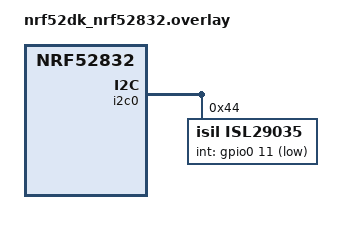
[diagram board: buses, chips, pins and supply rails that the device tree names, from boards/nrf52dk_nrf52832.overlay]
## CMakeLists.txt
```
# SPDX-License-Identifier: Apache-2.0

cmake_minimum_required(VERSION 3.20.0)
find_package(Zephyr REQUIRED HINTS $ENV{ZEPHYR_BASE})
project(isl29035)

FILE(GLOB app_sources src/*.c)
target_sources(app PRIVATE ${app_sources})
```

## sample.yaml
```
sample:
  name: ISL29035 Digital Light Sensor
tests:
  sample.sensor.isl29035:
    tags: sensors
    depends_on: i2c
    platform_allow: nrf52dk/nrf52832
    integration_platforms:
      - nrf52dk/nrf52832
    harness: console
    harness_config:
      type: one_line
      regex:
        - "Ambient light sense"
      fixture: fixture_isl29035
```

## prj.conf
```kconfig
CONFIG_STDOUT_CONSOLE=y
CONFIG_I2C=y
CONFIG_SENSOR=y
CONFIG_ISL29035_TRIGGER_GLOBAL_THREAD=y
CONFIG_ISL29035_LUX_RANGE_4K=y
CONFIG_CBPRINTF_FP_SUPPORT=y
```

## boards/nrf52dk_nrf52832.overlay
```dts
/*
 * Copyright (c) 2019 Nordic Semiconductor ASA
 *
 * SPDX-License-Identifier: Apache-2.0
 */

&i2c0 { /* SDA P0.26, SCL P0.27, ALERT P1.11 */
	isl29035@44 {
		compatible = "isil,isl29035";
		reg = <0x44>;
		int-gpios = <&gpio0 11 (GPIO_PULL_UP | GPIO_ACTIVE_LOW)>;
	};
};
```

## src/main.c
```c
/*
 * Copyright (c) 2019 Nordic Semiconductor ASA
 *
 * SPDX-License-Identifier: Apache-2.0
 */

#include <zephyr/kernel.h>
#include <zephyr/device.h>
#include <zephyr/drivers/sensor.h>
#include <stdio.h>
#include <zephyr/sys/util.h>

#define LUX_ALERT_DELTA 50

static volatile bool alerted;
struct k_sem sem;

static void trigger_handler(const struct device *dev,
			    const struct sensor_trigger *trig)
{
#ifdef CONFIG_ISL29035_TRIGGER
	alerted = !alerted;
	k_sem_give(&sem);
#endif /* CONFIG_ISL29035_TRIGGER */
}

static const char *now_str(void)
{
	static char buf[16]; /* ...HH:MM:SS.MMM */
	uint32_t now = k_uptime_get_32();
	unsigned int ms = now % MSEC_PER_SEC;
	unsigned int s;
	unsigned int min;
	unsigned int h;

	now /= MSEC_PER_SEC;
	s = now % 60U;
	now /= 60U;
	min = now % 60U;
	now /= 60U;
	h = now;

	snprintf(buf, sizeof(buf), "%u:%02u:%02u.%03u",
		 h, min, s, ms);
	return buf;
}

static void process_sample(const struct device *dev)
{
	static bool last_alerted;
	struct sensor_value val;

	if (sensor_sample_fetch(dev) < 0) {
		printf("Sensor sample update error\n");
		return;
	}

	if (sensor_channel_get(dev, SENSOR_CHAN_LIGHT, &val) < 0) {
		printf("Cannot read ISL29035 value\n");
		return;
	}

	int lux = val.val1;

	if (IS_ENABLED(CONFIG_ISL29035_TRIGGER)
	    && (alerted != last_alerted)) {
		static int last_lux;
		int rc;
		struct sensor_trigger trig = {
			.type = SENSOR_TRIG_THRESHOLD,
			.chan = SENSOR_CHAN_ALL,
		};
		struct sensor_value lo_thr = { MAX(lux - LUX_ALERT_DELTA, 0), };
		struct sensor_value hi_thr = { lux + LUX_ALERT_DELTA };

		printf("ALERT %d lux outside range centered on %d lux."
		       "\nNext alert outside %d .. %d\n",
		       lux, last_lux, lo_thr.val1, hi_thr.val1);
		last_lux = lux;
		last_alerted = alerted;

		rc = sensor_attr_set(dev, SENSOR_CHAN_LIGHT,
				     SENSOR_ATTR_LOWER_THRESH, &lo_thr);
		if (rc == 0) {
			rc = sensor_attr_set(dev, SENSOR_CHAN_LIGHT,
					     SENSOR_ATTR_UPPER_THRESH, &hi_thr);
		}
		if (rc == 0) {
			rc = sensor_trigger_set(dev, &trig, trigger_handler);
		}
		if (rc != 0) {
			printf("Alert configuration failed: %d\n", rc);
		}
	}

	printf("[%s] %s: %g\n", now_str(),
	       IS_ENABLED(CONFIG_ISL29035_MODE_ALS)
	       ? "Ambient light sense"
	       : "IR sense",
	       sensor_value_to_double(&val));
}

int main(void)
{
	const struct device *const dev = DEVICE_DT_GET_ONE(isil_isl29035);

	if (!device_is_ready(dev)) {
		printk("sensor: device not ready.\n");
		return 0;
	}

	k_sem_init(&sem, 0, 1);
	alerted = true;
	while (true) {
		process_sample(dev);

		if (IS_ENABLED(CONFIG_ISL29035_TRIGGER)) {
			k_sem_take(&sem, K_SECONDS(10));
		} else {
			k_sleep(K_SECONDS(1));
		}
	}
	return 0;
}
```
